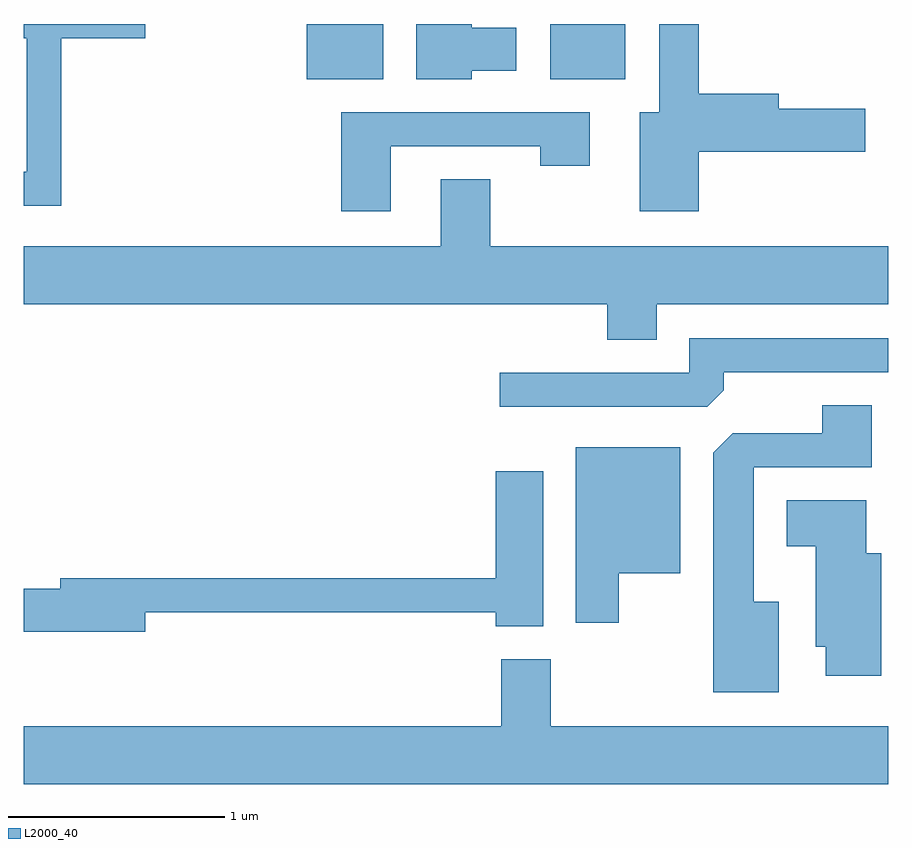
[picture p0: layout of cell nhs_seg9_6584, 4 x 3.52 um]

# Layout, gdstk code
import gdstk
lib = gdstk.Library(unit=1e-6, precision=1e-09)
def R(c, l, rs):  # rectangles x0, y0, x1, y1
    for r in rs: c.add(gdstk.rectangle(r[:2], r[2:], *l))
def P(c, l, *ps):  # polygons
    for p in ps: c.add(gdstk.Polygon(p, *l))
L2000_40 = (2000, 40)

nhs_seg9_6584 = lib.new_cell('nhs_seg9_6584')
R(nhs_seg9_6584, L2000_40, [(380.921,2006.176,381.274,2006.432), (382.046,2006.176,382.394,2006.432)])
P(nhs_seg9_6584, L2000_40, [(379.784,2006.366),(380.174,2006.366),(380.174,2006.432),(379.611,2006.432),(379.611,2006.366),(379.626,2006.366),(379.626,2005.749),(379.611,2005.749),(379.611,2005.591),(379.784,2005.591)],
  [(381.684,2006.216),(381.889,2006.216),(381.889,2006.414),(381.684,2006.414),(381.684,2006.432),(381.426,2006.432),(381.426,2006.176),(381.684,2006.176)],
  [(382.734,2005.841),(383.504,2005.841),(383.504,2006.039),(383.104,2006.039),(383.104,2006.109),(382.734,2006.109),(382.734,2006.432),(382.551,2006.432),(382.551,2006.024),(382.461,2006.024),(382.461,2005.566),(382.734,2005.566)],
  [(381.309,2005.866),(382.001,2005.866),(382.001,2005.776),(382.229,2005.776),(382.229,2006.024),(381.081,2006.024),(381.081,2005.566),(381.309,2005.566)],
  [(381.541,2005.714),(381.541,2005.404),(379.611,2005.404),(379.611,2005.136),(382.311,2005.136),(382.311,2004.971),(382.539,2004.971),(382.539,2005.136),(383.611,2005.136),(383.611,2005.404),(381.769,2005.404),(381.769,2005.714)],
  [(382.849,2004.737),(382.849,2004.821),(383.611,2004.821),(383.611,2004.979),(382.691,2004.979),(382.691,2004.819),(381.813,2004.819),(381.813,2004.661),(382.774,2004.661)],
  [(383.104,2003.759),(382.989,2003.759),(382.989,2004.381),(383.534,2004.381),(383.534,2004.669),(383.306,2004.669),(383.306,2004.539),(382.892,2004.539),(382.801,2004.449),(382.801,2003.341),(383.104,2003.341)],
  [(382.364,2003.891),(382.649,2003.891),(382.649,2004.474),(382.166,2004.474),(382.166,2003.661),(382.364,2003.661)],
  [(380.174,2003.711),(381.796,2003.711),(381.796,2003.646),(382.014,2003.646),(382.014,2004.364),(381.796,2004.364),(381.796,2003.869),(379.781,2003.869),(379.781,2003.819),(379.611,2003.819),(379.611,2003.621),(380.174,2003.621)],
  [(383.579,2003.984),(383.509,2003.984),(383.509,2004.229),(383.141,2004.229),(383.141,2004.016),(383.276,2004.016),(383.276,2003.551),(383.321,2003.551),(383.321,2003.416),(383.579,2003.416)],
  [(383.611,2003.184),(382.049,2003.184),(382.049,2003.494),(381.821,2003.494),(381.821,2003.184),(379.611,2003.184),(379.611,2002.916),(383.611,2002.916)])

lib.write_gds('nhs_seg9_6584.gds')
